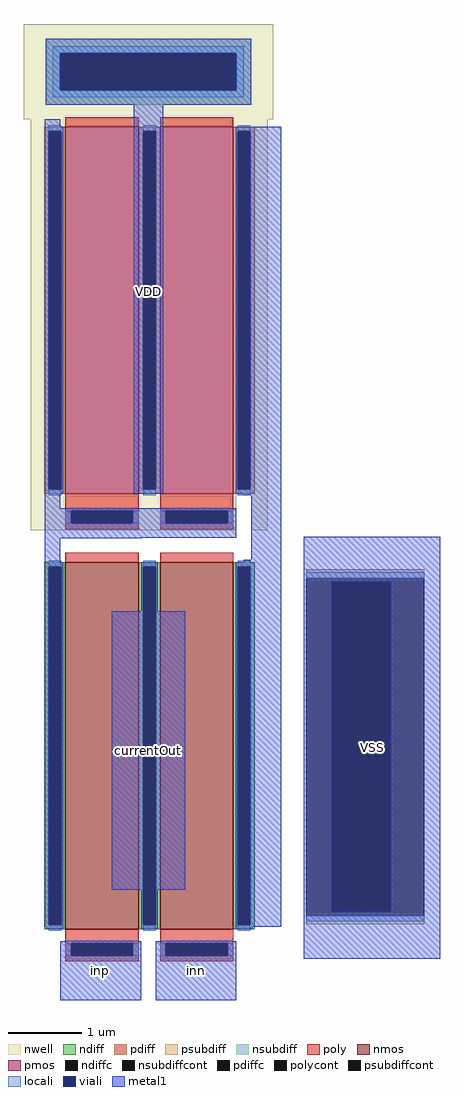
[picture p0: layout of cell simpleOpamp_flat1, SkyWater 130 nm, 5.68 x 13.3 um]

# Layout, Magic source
magic
tech sky130A
magscale 1 2
<< nwell >>
rect -20 1120 660 1380
rect 0 96 646 1120
rect 0 0 560 96
rect 600 0 646 96
<< nmos >>
rect 94 -1087 294 -87
rect 352 -1087 552 -87
<< pmos >>
rect 94 100 294 1100
rect 352 100 552 1100
<< ndiff >>
rect 36 -99 94 -87
rect 36 -1075 48 -99
rect 82 -1075 94 -99
rect 36 -1087 94 -1075
rect 294 -99 352 -87
rect 294 -1075 306 -99
rect 340 -1075 352 -99
rect 294 -1087 352 -1075
rect 552 -99 610 -87
rect 552 -1075 564 -99
rect 598 -1075 610 -99
rect 552 -1087 610 -1075
<< pdiff >>
rect 36 1088 94 1100
rect 36 112 48 1088
rect 82 112 94 1088
rect 36 100 94 112
rect 294 1088 352 1100
rect 294 112 306 1088
rect 340 112 352 1088
rect 294 100 352 112
rect 552 1088 610 1100
rect 552 112 564 1088
rect 598 112 610 1088
rect 552 100 610 112
<< ndiffc >>
rect 48 -1075 82 -99
rect 306 -1075 340 -99
rect 564 -1075 598 -99
<< pdiffc >>
rect 48 112 82 1088
rect 306 112 340 1088
rect 564 112 598 1088
<< psubdiff >>
rect 750 -130 1072 -106
rect 750 -1074 1072 -1050
<< nsubdiff >>
rect 40 1300 600 1340
rect 40 1200 80 1300
rect 560 1200 600 1300
rect 40 1160 600 1200
<< psubdiffcont >>
rect 750 -1050 1072 -130
<< nsubdiffcont >>
rect 80 1200 560 1300
<< poly >>
rect 94 1100 294 1126
rect 352 1100 552 1126
rect 94 53 294 100
rect 94 19 110 53
rect 278 19 294 53
rect 94 3 294 19
rect 352 53 552 100
rect 352 19 368 53
rect 536 19 552 53
rect 352 3 552 19
rect 94 -87 294 -61
rect 352 -87 552 -61
rect 94 -1125 294 -1087
rect 94 -1159 110 -1125
rect 278 -1159 294 -1125
rect 94 -1175 294 -1159
rect 352 -1125 552 -1087
rect 352 -1159 368 -1125
rect 536 -1159 552 -1125
rect 352 -1175 552 -1159
<< polycont >>
rect 110 19 278 53
rect 368 19 536 53
rect 110 -1159 278 -1125
rect 368 -1159 536 -1125
<< locali >>
rect 60 1300 580 1320
rect 60 1200 80 1300
rect 560 1200 580 1300
rect 60 1180 580 1200
rect 48 1088 82 1104
rect 48 96 82 112
rect 306 1088 340 1104
rect 306 96 340 112
rect 564 1088 598 1104
rect 564 96 598 112
rect 94 19 110 53
rect 278 19 294 53
rect 352 19 368 53
rect 536 19 552 53
rect 48 -99 82 -83
rect 48 -1091 82 -1075
rect 306 -99 340 -83
rect 306 -1091 340 -1075
rect 564 -99 598 -83
rect 750 -130 1072 -114
rect 750 -1066 1072 -1050
rect 564 -1091 598 -1075
rect 94 -1159 110 -1125
rect 278 -1159 294 -1125
rect 352 -1159 368 -1125
rect 536 -1159 552 -1125
<< viali >>
rect 80 1200 560 1300
rect 48 112 82 1088
rect 306 112 340 1088
rect 564 112 598 1088
rect 110 19 278 53
rect 368 19 536 53
rect 48 -1075 82 -99
rect 306 -1075 340 -99
rect 564 -1075 598 -99
rect 820 -1040 980 -140
rect 110 -1159 278 -1125
rect 368 -1159 536 -1125
<< metal1 >>
rect 40 1300 600 1340
rect 40 1200 80 1300
rect 560 1200 600 1300
rect 40 1160 600 1200
rect 38 1100 80 1120
rect 38 1088 88 1100
rect 38 112 48 1088
rect 82 112 88 1088
rect 38 100 88 112
rect 280 1088 360 1160
rect 280 112 306 1088
rect 340 112 360 1088
rect 280 100 360 112
rect 558 1088 682 1100
rect 558 112 564 1088
rect 598 112 682 1088
rect 558 100 682 112
rect 38 60 80 100
rect 580 96 682 100
rect 38 53 560 60
rect 38 19 110 53
rect 278 19 368 53
rect 536 19 560 53
rect 38 -20 560 19
rect 38 -22 302 -20
rect 38 -87 80 -22
rect 600 -80 682 96
rect 580 -87 682 -80
rect 38 -99 88 -87
rect 38 -1075 48 -99
rect 82 -1075 88 -99
rect 300 -99 346 -87
rect 300 -220 306 -99
rect 220 -980 306 -220
rect 38 -1080 88 -1075
rect 42 -1087 88 -1080
rect 300 -1075 306 -980
rect 340 -220 346 -99
rect 558 -99 682 -87
rect 340 -980 420 -220
rect 340 -1075 346 -980
rect 300 -1087 346 -1075
rect 558 -1075 564 -99
rect 598 -1075 682 -99
rect 558 -1080 682 -1075
rect 744 -140 1116 -18
rect 744 -1040 820 -140
rect 980 -1040 1116 -140
rect 558 -1087 604 -1080
rect 98 -1120 290 -1119
rect 356 -1120 548 -1119
rect 80 -1125 300 -1120
rect 80 -1159 110 -1125
rect 278 -1159 300 -1125
rect 80 -1280 300 -1159
rect 340 -1125 560 -1120
rect 340 -1159 368 -1125
rect 536 -1159 560 -1125
rect 340 -1280 560 -1159
rect 744 -1168 1116 -1040
<< labels >>
flabel metal1 220 -980 420 -220 0 FreeSans 160 0 0 0 currentOut
port 5 nsew
flabel metal1 744 -1168 1116 -18 0 FreeSans 160 0 0 0 VSS
port 6 nsew
flabel metal1 280 100 360 1200 0 FreeSans 160 0 0 0 VDD
port 2 nsew
flabel metal1 80 -1280 300 -1120 0 FreeSans 160 0 0 0 inp
port 3 nsew
flabel metal1 340 -1280 560 -1120 0 FreeSans 160 0 0 0 inn
port 4 nsew
<< end >>
